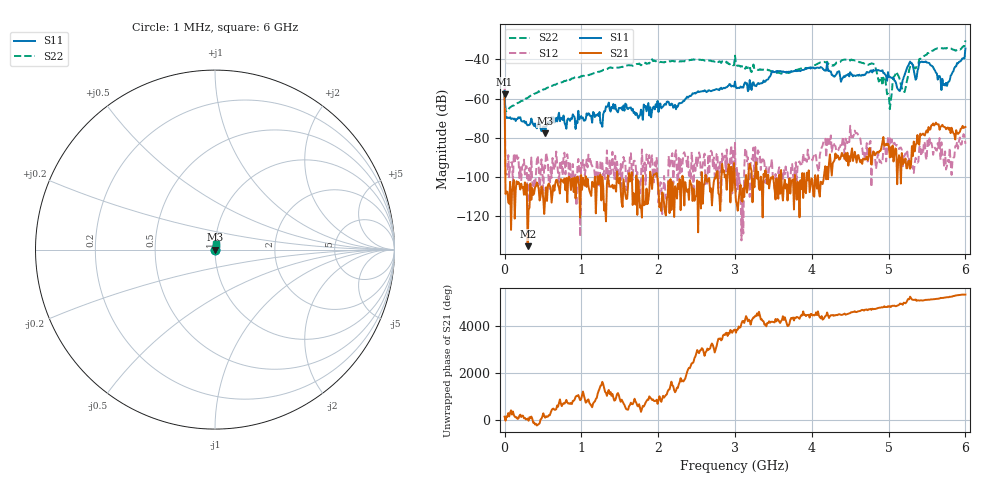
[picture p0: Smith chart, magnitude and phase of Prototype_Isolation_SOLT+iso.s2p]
# GHZ S RI R 50
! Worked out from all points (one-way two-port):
!   501 points, 1 MHz to 6 GHz, reference 50 ohm
!   highest |S21| = -57.82 dB at 1 MHz (marker M1); lowest = -135.4 dB at 300.9 MHz (marker M2)
!   lowest |S11| = -77.8 dB at 528.9 MHz (marker M3), VSWR 1.00, Z = 50 - j0.0106 ohm
!   |S11| at or under -10 dB: start of sweep to end of sweep
!   |S22| runs from -66.5 to -30.3 dB; largest |S21 - S12| = 0.00071
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0.001  -0.00064 -0.00143  -0.00071 0.00107  -0.000735 0.00178  0.00115 0.000425
0.036994  -0.000329 -3.01e-05  -2e-06 3.65e-06  -7.27e-06 -8.96e-06  -0.000534 -7.99e-05
0.30095  -0.000163 -0.000127  1.28e-07 1.11e-07  7.03e-07 1.48e-06  -0.000712 -0.00077
0.528912  -7.44e-05 -0.000106  5.25e-07 2.7e-06  1.59e-05 -4.37e-06  -0.00105 -0.00139
1.008832  -7.73e-06 -0.000311  3.69e-06 -2.84e-06  -1.49e-05 -5.74e-06  -0.00221 -0.00299
1.272788  -0.00012 -0.000146  -9.92e-06 1.57e-06  2.25e-05 1.91e-06  -0.00334 -0.00398
1.344776  -0.000361 -0.000534  -1.81e-06 1.06e-05  -9.62e-06 6.94e-06  -0.0037 -0.00449
2.004666  -0.000279 -0.000359  -6.48e-07 4.35e-06  2.16e-06 2.38e-07  -0.00441 -0.00758
3.0005  0.00272 7.9e-05  -2.75e-06 -5.85e-06  6.18e-05 4.04e-05  -0.00718 -0.0102
3.612398  0.00218 -0.00434  1.98e-06 -3.71e-06  8.07e-06 -7.56e-06  -0.00335 -0.00291
4.008332  0.00322 -0.00522  -4.34e-06 7.08e-06  1.25e-05 2.32e-05  -0.00601 -0.00268
4.404266  0.00334 0.00029  -3.31e-05 7.74e-06  -3.17e-05 0.000102  -0.00963 -0.0012
4.788202  0.00443 0.00147  1.75e-05 2.89e-05  -2.14e-05 2.12e-05  -0.00761 0.002
5.004166  0.00345 0.00105  -4.84e-05 3.67e-05  2.09e-05 -4.29e-05  0.000849 -0.000806
5.088152  0.00242 0.00134  -5.2e-05 1.28e-05  2.78e-05 -6.06e-05  -0.00411 -0.000485
5.136144  0.00143 0.000745  -2.62e-05 -2.43e-05  2.58e-05 -4.42e-05  -0.00352 -0.000137
5.208132  0.00349 0.00209  1.3e-05 -1.89e-05  2.11e-05 -2.72e-05  -0.000499 0.00139
5.292118  0.00602 0.00528  -1.69e-05 1.17e-05  1.49e-05 1.05e-05  0.0048 0.00515
5.352108  0.00091 0.00289  -1.49e-06 6.6e-05  -2.38e-05 1.91e-05  0.000185 0.00592
5.46009  0.00652 0.00573  6.28e-05 0.0001  -1.12e-05 7.81e-05  0.00721 0.00983
5.736044  0.002 -0.000832  -0.000185 1.51e-05  2.01e-05 3.97e-05  0.00504 0.0187
6  0.00713 0.0177  9.15e-05 -0.000165  6.3e-05 2.94e-05  0.00655 0.0299
